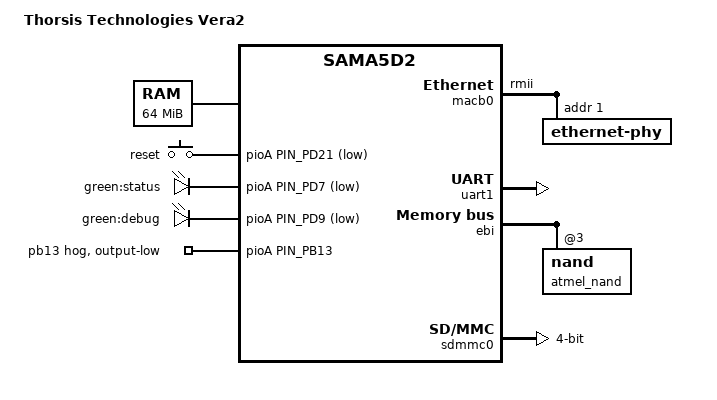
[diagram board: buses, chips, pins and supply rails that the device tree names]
/*
 * at91-vera2.dts - Device Tree file for Thorsis Technologies Vera2 board
 *
 * © 2021 Thorsis Technologies GmbH
 */
/dts-v1/;
#include "sama5d2.dtsi"
#include "sama5d2-pinfunc.h"
#include <dt-bindings/gpio/gpio.h>
#include <dt-bindings/input/input.h>
#include <dt-bindings/pinctrl/at91.h>

/ {
	model = "Thorsis Technologies Vera2";
	compatible = "thorsis,vera2", "atmel,sama5d27", "atmel,sama5d2", "atmel,sama5";

	memory {
		reg = <0x20000000 0x04000000>;
	};

	chosen {
		u-boot,dm-pre-reloc;
		stdout-path = &uart1;
	};

	ahb {
		apb {
			macb0: ethernet@f8008000 {
				pinctrl-names = "default";
				pinctrl-0 = <&pinctrl_macb0_rmii>;
				phy-mode = "rmii";
				status = "okay";

				ethernet-phy@1 {
					reg = <0x1>;
				};
			};

			uart1: serial@f8020000 {
				pinctrl-names = "default";
				pinctrl-0 = <&pinctrl_uart1_default>;
				status = "okay";
				u-boot,dm-pre-reloc;
			};
		};
	};

	gpio-keys {
		compatible = "gpio-keys";
		status = "okay";

		pinctrl-names = "default";
		pinctrl-0 = <&pinctrl_key_gpio>;

		reset {
			label = "reset";
			gpios = <&pioA PIN_PD21 GPIO_ACTIVE_LOW>;
			linux,code = <KEY_RESTART>;
			debounce-interval = <60>;
		};
	};

	led-controller-0 {
		compatible = "gpio-leds";
		status = "okay";

		pinctrl-names = "default";
		pinctrl-0 = <&pinctrl_leds_gpio>;

		green-1 {
			label = "green:status";
			gpios = <&pioA PIN_PD7 GPIO_ACTIVE_LOW>;
			default-state = "on";
		};

		green-2 {
			label = "green:debug";
			gpios = <&pioA PIN_PD9 GPIO_ACTIVE_LOW>;
			default-state = "off";
		};
	};
};

&ebi {
	pinctrl-names = "default";
	pinctrl-0 = <&pinctrl_nand_default>;
	status = "okay";

	nand_controller: nand-controller {
		status = "okay";

		nand@3 {
			reg = <0x3 0x0 0x800000>;
			atmel,rb = <0>;

			nand-bus-width = <8>;
			nand-ecc-mode = "hw";
			nand-ecc-strength = <8>;
			nand-ecc-step-size = <512>;
			nand-on-flash-bbt;
			label = "atmel_nand";
		};
	};
};

&pioA {
	pinctrl_gpio_default: gpio_default {
		pinmux = <PIN_PB13__GPIO>;
		bias-pull-down;
	};

	pinctrl_key_gpio: key_gpio {
		pinmux = <PIN_PD21__GPIO>;
		bias-disable;
	};

	pinctrl_leds_gpio: leds_gpio {
		pinmux = <PIN_PD7__GPIO>,
			 <PIN_PD9__GPIO>;
		bias-disable;
	};

	pinctrl_macb0_rmii: macb0_rmii {
		pinmux = <PIN_PC10__GTXCK>,
			 <PIN_PC11__GTXEN>,
			 <PIN_PC12__GRXDV>,
			 <PIN_PC13__GRXER>,
			 <PIN_PC14__GRX0>,
			 <PIN_PC15__GRX1>,
			 <PIN_PC16__GTX0>,
			 <PIN_PC17__GTX1>,
			 <PIN_PC18__GMDC>,
			 <PIN_PC19__GMDIO>;
		bias-disable;
	};

	pinctrl_nand_default: nand_default {
		rd_we_data {
			pinmux = <PIN_PA22__D0>,
				 <PIN_PA23__D1>,
				 <PIN_PA24__D2>,
				 <PIN_PA25__D3>,
				 <PIN_PA26__D4>,
				 <PIN_PA27__D5>,
				 <PIN_PA28__D6>,
				 <PIN_PA29__D7>,
				 <PIN_PA30__NWE_NANDWE>,
				 <PIN_PB2__NRD_NANDOE>;
			bias-disable;
			atmel,drive-strength = <ATMEL_PIO_DRVSTR_ME>;
		};

		ale_cle_rdy_cs {
			pinmux = <PIN_PB0__A21_NANDALE>,
				 <PIN_PB1__A22_NANDCLE>,
				 <PIN_PC8__NANDRDY>,
				 <PIN_PA31__NCS3>;
			bias-pull-up;
		};
	};

	pinctrl_sdmmc0_default: sdmmc0_default {
		cmd_dat {
			pinmux = <PIN_PA1__SDMMC0_CMD>,
				 <PIN_PA2__SDMMC0_DAT0>,
				 <PIN_PA3__SDMMC0_DAT1>,
				 <PIN_PA4__SDMMC0_DAT2>,
				 <PIN_PA5__SDMMC0_DAT3>;
			bias-pull-up;
			u-boot,dm-pre-reloc;
		};

		ck_cd {
			pinmux = <PIN_PA0__SDMMC0_CK>,
				 <PIN_PA13__SDMMC0_CD>;
			bias-disable;
			u-boot,dm-pre-reloc;
		};
	};

	pinctrl_uart1_default: uart1_default {
		pinmux = <PIN_PD2__URXD1>,
			 <PIN_PD3__UTXD1>;
		bias-disable;
		u-boot,dm-pre-reloc;
	};

	/* init trigger pin to output-low with
	 * internal pull-down to avoid reboot loops
	 * triggered by monoflop at TPS54341
	 * EN input */
	pb13 {
		pinctrl-names = "default";
		pinctrl-0 = <&pinctrl_gpio_default>;

		gpio-hog;
		gpios = <PIN_PB13 GPIO_ACTIVE_HIGH>;
		output-low;
	};
};

&sdmmc0 {
	bus-width = <4>;
	pinctrl-names = "default";
	pinctrl-0 = <&pinctrl_sdmmc0_default>;
	status = "okay";
	no-1-8-v;
	u-boot,dm-pre-reloc;
};
